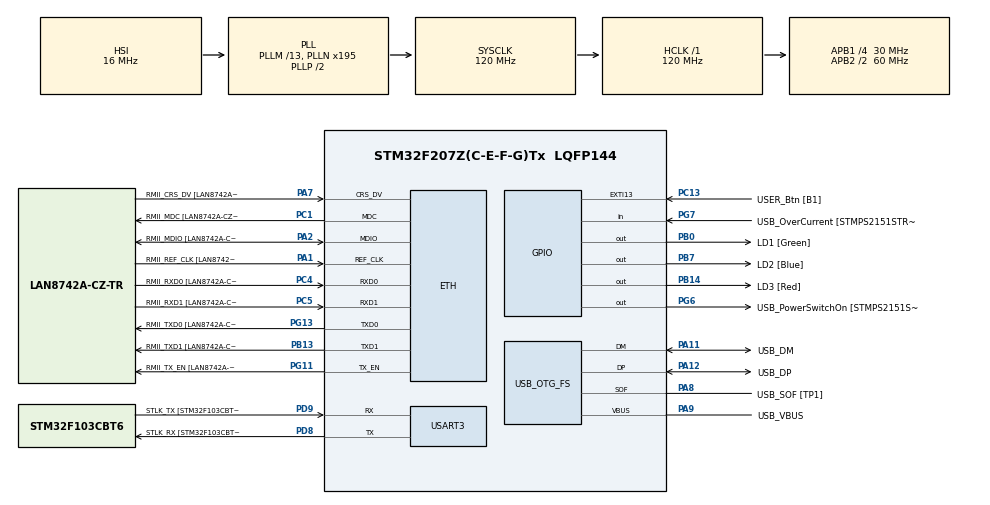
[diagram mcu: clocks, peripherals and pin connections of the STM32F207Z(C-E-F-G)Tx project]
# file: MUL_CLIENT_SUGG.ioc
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ETH.MediaInterface=ETH_MEDIA_INTERFACE_RMII
ETH.PHY_Name=LAN8742A_PHY_ADDRESS
ETH.PHY_Value=0
ETH.PhyAddress=0
FREERTOS.Tasks01=defaultTask,24,1024,StartDefaultTask,Default,NULL,Dynamic,NULL,NULL
FREERTOS.configUSE_NEWLIB_REENTRANT=1
LWIP.GATEWAY_ADDRESS=192.168.000.001
LWIP.IP_ADDRESS=192.168.000.100
LWIP.LWIP_DHCP=0
LWIP.NETMASK_ADDRESS=255.255.255.000
LWIP.Version=v2.0.3_Cube
Mcu.Family=STM32F2
Mcu.Name=STM32F207Z(C-E-F-G)Tx
Mcu.Package=LQFP144
NVIC.ETH_IRQn=true\:5\:0\:false\:false\:true\:true\:true\:true\:true
NVIC.ETH_WKUP_IRQn=true\:5\:0\:false\:false\:true\:true\:true\:true\:true
NVIC.PriorityGroup=NVIC_PRIORITYGROUP_4
NVIC.TIM2_IRQn=true\:15\:0\:false\:false\:true\:false\:false\:true\:true
NVIC.TimeBase=TIM2_IRQn
NVIC.TimeBaseIP=TIM2
PA1.GPIO_Label=RMII_REF_CLK [LAN8742A-CZ-TR_REFCLK0]
PA1.Mode=RMII
PA1.Signal=ETH_REF_CLK
PA10.GPIO_Label=USB_ID
PA10.Signal=USB_OTG_FS_ID
PA11.GPIO_Label=USB_DM
PA11.Mode=Device_Only
PA11.Signal=USB_OTG_FS_DM
PA12.GPIO_Label=USB_DP
PA12.Mode=Device_Only
PA12.Signal=USB_OTG_FS_DP
PA13.GPIO_Label=TMS
PA13.Mode=Serial_Wire
PA13.Signal=SYS_JTMS-SWDIO
PA14.GPIO_Label=TCK
PA14.Mode=Serial_Wire
PA14.Signal=SYS_JTCK-SWCLK
PA2.GPIO_Label=RMII_MDIO [LAN8742A-CZ-TR_MDIO]
PA2.Mode=RMII
PA2.Signal=ETH_MDIO
PA7.GPIO_Label=RMII_CRS_DV [LAN8742A-CZ-TR_CRS_DV]
PA7.Mode=RMII
PA7.Signal=ETH_CRS_DV
PA8.GPIO_Label=USB_SOF [TP1]
PA8.Mode=Activate_SOF_FS
PA8.Signal=USB_OTG_FS_SOF
PA9.GPIO_Label=USB_VBUS
PA9.Mode=Activate_VBUS
PA9.Signal=USB_OTG_FS_VBUS
PB0.GPIO_Label=LD1 [Green]
PB0.Signal=GPIO_Output
PB13.GPIO_Label=RMII_TXD1 [LAN8742A-CZ-TR_TXD1]
PB13.Mode=RMII
PB13.Signal=ETH_TXD1
PB14.GPIO_Label=LD3 [Red]
PB14.Signal=GPIO_Output
PB3.GPIO_Label=SWO
PB3.Signal=SYS_JTDO-SWO
PB7.GPIO_Label=LD2 [Blue]
PB7.Signal=GPIO_Output
PC1.GPIO_Label=RMII_MDC [LAN8742A-CZ-TR_MDC]
PC1.Mode=RMII
PC1.Signal=ETH_MDC
PC13.GPIO_Label=USER_Btn [B1]
PC13.Signal=GPXTI13
PC14-OSC32_IN.Mode=LSE-External-Oscillator
PC14-OSC32_IN.Signal=RCC_OSC32_IN
PC15-OSC32_OUT.Mode=LSE-External-Oscillator
PC15-OSC32_OUT.Signal=RCC_OSC32_OUT
PC4.GPIO_Label=RMII_RXD0 [LAN8742A-CZ-TR_RXD0]
PC4.Mode=RMII
PC4.Signal=ETH_RXD0
PC5.GPIO_Label=RMII_RXD1 [LAN8742A-CZ-TR_RXD1]
PC5.Mode=RMII
PC5.Signal=ETH_RXD1
PD8.GPIO_Label=STLK_RX [STM32F103CBT6_PA2]
PD8.Mode=Asynchronous
PD8.Signal=USART3_TX
PD9.GPIO_Label=STLK_TX [STM32F103CBT6_PA3]
PD9.Mode=Asynchronous
PD9.Signal=USART3_RX
PG11.GPIO_Label=RMII_TX_EN [LAN8742A-CZ-TR_TXEN]
PG11.Mode=RMII
PG11.Signal=ETH_TX_EN
PG13.GPIO_Label=RMII_TXD0 [LAN8742A-CZ-TR_TXD0]
PG13.Mode=RMII
PG13.Signal=ETH_TXD0
PG6.GPIO_Label=USB_PowerSwitchOn [STMPS2151STR_EN]
PG6.Signal=GPIO_Output
PG7.GPIO_Label=USB_OverCurrent [STMPS2151STR_FAULT]
PG7.Signal=GPIO_Input
PH0-OSC_IN.GPIO_Label=MCO [STM32F103CBT6_PA8]
PH0-OSC_IN.Mode=HSE-External-Oscillator
PH0-OSC_IN.Signal=RCC_OSC_IN
PH1-OSC_OUT.Mode=HSE-External-Oscillator
PH1-OSC_OUT.Signal=RCC_OSC_OUT
ProjectManager.HeapSize=0x200
ProjectManager.StackSize=0x400
ProjectManager.TargetToolchain=STM32CubeIDE
RCC.48MHZClocksFreq_Value=48000000
RCC.AHBFreq_Value=120000000
RCC.APB1CLKDivider=RCC_HCLK_DIV4
RCC.APB1Freq_Value=30000000
RCC.APB1TimFreq_Value=60000000
RCC.APB2CLKDivider=RCC_HCLK_DIV2
RCC.APB2Freq_Value=60000000
RCC.APB2TimFreq_Value=120000000
RCC.CortexFreq_Value=120000000
RCC.HCLKFreq_Value=120000000
RCC.HSE_VALUE=8000000
RCC.HSI_VALUE=16000000
RCC.PLLM=13
RCC.PLLMUL=RCC_PLL_MUL9
RCC.PLLN=195
RCC.PLLQ=5
RCC.PRESCALERUSB=RCC_USBCLKSOURCE_PLL_DIV1_5
RCC.SYSCLKFreq_VALUE=120000000
RCC.SYSCLKSource=RCC_SYSCLKSOURCE_PLLCLK
RCC.SYSCLKSourceVirtual=RCC_SYSCLKSOURCE_PLLCLK
RCC.USBFreq_Value=48000000
RCC.VCOOutputFreq_Value=240000000
USART3.VirtualMode=VM_ASYNC
USB_OTG_FS.VirtualMode=Device_Only
VP_FREERTOS_VS_CMSIS_V2.Mode=CMSIS_V2
VP_LWIP_VS_Enabled.Mode=Enabled
VP_SYS_VS_tim2.Mode=TIM2
board=NUCLEO-F207ZG

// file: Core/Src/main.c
/* USER CODE BEGIN Header */
/**
  ******************************************************************************
  * @file           : main.c
  * @brief          : Main program body
  ******************************************************************************
  * @attention
  *
  * Copyright (c) 2024 STMicroelectronics.
  * All rights reserved.
  *
  * This software is licensed under terms that can be found in the LICENSE file
  * in the root directory of this software component.
  * If no LICENSE file comes with this software, it is provided AS-IS.
  *
  ******************************************************************************
  */
/* USER CODE END Header */
#include "main.h"
#include "cmsis_os.h"
#include "lwip.h"
#include "lwip/api.h"
#include "lwip/netbuf.h"
#include <string.h>
/* USER CODE BEGIN Includes */
#define MQTT_PORT 1883 //MQTT_PORT

#define conn_req 16
#define ping_req 0xc0
#define sub_req 0x82
#define pub_msg 0x30
#define unsub_req 0xa2
#define disconn 0xe0

/* USER CODE END Includes */

UART_HandleTypeDef huart3;

PCD_HandleTypeDef hpcd_USB_OTG_FS;

/* Definitions for defaultTask */
osThreadId_t defaultTaskHandle;
const osThreadAttr_t defaultTask_attributes = {
  .name = "defaultTask",
  .stack_size = 1024 * 4,
  .priority = (osPriority_t) osPriorityNormal,
};

void SystemClock_Config(void);
static void MX_GPIO_Init(void);
static void MX_USART3_UART_Init(void);
static void MX_USB_OTG_FS_PCD_Init(void);
void StartDefaultTask(void *argument);

/* USER CODE BEGIN 0 */
typedef  struct {
        uint8_t arr[100];
    } arr_s;
static arr_s rxBuffer; //standard variable limit to its scope but static variable is throughout program

typedef struct{
		uint8_t pub[100];
	}pub_s;
static pub_s pub_packet;

typedef union{
	struct{
		uint8_t pack[100];
	}pack_s;
}pack_u;
static pack_u packet;

uint8_t connack_msg[] = {0x20, 0x01, 0x00};
uint8_t ping_res[] = {0xD0, 0x00};

void mqtt_client_task(void *arg)
{ struct netconn *new_conn = (struct netconn *)arg;

 	while (1)
 		{ struct netbuf *buf;
    	err_t rx_err = netconn_recv(new_conn, &buf); // Wait for data
        											 //new_conn = network connection from which receive data
        											//&buf = pointer where netbuf is store
    		if (rx_err == ERR_OK)
    		{ memcpy(&rxBuffer, buf->p->payload, buf->p->len); // data copy from buf->p->payload and copy into rxBuffer
	        												  // rxBuffer = A pointer to the memory location where the copied data will be stored.
        													  // buf->p->payload = A pointer to the memory location from where the data is to be copied.
	        												  // buf->p->len = The number of bytes to be copied
        	    	 if (conn_req == rxBuffer.arr[0])
        	    	 	 { netconn_write(new_conn, connack_msg, sizeof(connack_msg), NETCONN_COPY); //send connack_ack packet
        	    	 	 }

        	    	 if (ping_req == rxBuffer.arr[0])
        	    	 	 { netconn_write(new_conn, ping_res, sizeof(ping_res), NETCONN_COPY); //send publish packet
        	    	 	 }

        	    	 if (sub_req == rxBuffer.arr[0] && (memcpy(&packet,buf->p->payload,buf->p->len)))
        	    	 	 { uint8_t sub_ack[]={0x90,0x04,rxBuffer.arr[2],rxBuffer.arr[3],rxBuffer.arr[4],rxBuffer.arr[5]}; // send subscribe packet
        	    	 	 	 netconn_write(new_conn, sub_ack,sizeof(sub_ack), NETCONN_COPY);
        	    	 	 }

        	    	 if(pub_msg == rxBuffer.arr[0] && packet.pack_s.pack[7] == rxBuffer.arr[4])
        	    	 	 { for(int i=0;i<buf->p->len;i++)
        	    	 	 	 { memcpy(&pub_packet, buf->p->payload, buf->p->len);
        	    	 	 	 	 uint8_t publish[]={pub_packet.pub[i]};
        	    	 	 	 	   netconn_write(new_conn,publish,sizeof(publish),NETCONN_COPY); //send publish packet
        	    	 	 	 }
        	    	 	 }

        	    	 if(unsub_req == rxBuffer.arr[0])
        	    	 	 { uint8_t unsub_ack[]={0xb0,0x04,rxBuffer.arr[2],rxBuffer.arr[3],rxBuffer.arr[4],rxBuffer.arr[5]};
        	    	 	 	 netconn_write(new_conn,unsub_ack,sizeof(unsub_ack),NETCONN_COPY); //send unsub_ack packet
        	    	 	 }

        	    	 if (disconn == rxBuffer.arr[0])
        	    	 	 {	netconn_close(new_conn); //disconnect the connection
        	    	 	 	netconn_delete(new_conn);
        	    	 	 }
        		netbuf_delete(buf);//Deallocate a buffer
        	}
    	}
}
/* USER CODE END 0 */

int main(void)
{

  /* MCU Configuration--------------------------------------------------------*/

  /* Reset of all peripherals, Initializes the Flash interface and the Systick. */
  HAL_Init();

  /* Configure the system clock */
  SystemClock_Config();

  /* Initialize all configured peripherals */
  MX_GPIO_Init();
  MX_USART3_UART_Init();
  MX_USB_OTG_FS_PCD_Init();

  /* Init scheduler */
  osKernelInitialize();

  /* Create the thread(s) */
  /* creation of defaultTask */
  defaultTaskHandle = osThreadNew(StartDefaultTask, NULL, &defaultTask_attributes);

  /* Start scheduler */
  osKernelStart();

  /* We should never get here as control is now taken by the scheduler */
  /* Infinite loop */
  while (1)
  {

  }
}

void SystemClock_Config(void)
{
  RCC_OscInitTypeDef RCC_OscInitStruct = {0};
  RCC_ClkInitTypeDef RCC_ClkInitStruct = {0};

  /** Initializes the RCC Oscillators according to the specified parameters
  * in the RCC_OscInitTypeDef structure.
  */
  RCC_OscInitStruct.OscillatorType = RCC_OSCILLATORTYPE_HSI;
  RCC_OscInitStruct.HSIState = RCC_HSI_ON;
  RCC_OscInitStruct.HSICalibrationValue = RCC_HSICALIBRATION_DEFAULT;
  RCC_OscInitStruct.PLL.PLLState = RCC_PLL_ON;
  RCC_OscInitStruct.PLL.PLLSource = RCC_PLLSOURCE_HSI;
  RCC_OscInitStruct.PLL.PLLM = 13;
  RCC_OscInitStruct.PLL.PLLN = 195;
  RCC_OscInitStruct.PLL.PLLP = RCC_PLLP_DIV2;
  RCC_OscInitStruct.PLL.PLLQ = 5;
  if (HAL_RCC_OscConfig(&RCC_OscInitStruct) != HAL_OK)
  {
    Error_Handler();
  }

  /** Initializes the CPU, AHB and APB buses clocks
  */
  RCC_ClkInitStruct.ClockType = RCC_CLOCKTYPE_HCLK|RCC_CLOCKTYPE_SYSCLK
                              |RCC_CLOCKTYPE_PCLK1|RCC_CLOCKTYPE_PCLK2;
  RCC_ClkInitStruct.SYSCLKSource = RCC_SYSCLKSOURCE_PLLCLK;
  RCC_ClkInitStruct.AHBCLKDivider = RCC_SYSCLK_DIV1;
  RCC_ClkInitStruct.APB1CLKDivider = RCC_HCLK_DIV4;
  RCC_ClkInitStruct.APB2CLKDivider = RCC_HCLK_DIV2;

  if (HAL_RCC_ClockConfig(&RCC_ClkInitStruct, FLASH_LATENCY_3) != HAL_OK)
  {
    Error_Handler();
  }
}

static void MX_USART3_UART_Init(void)
{

  huart3.Instance = USART3;
  huart3.Init.BaudRate = 115200;
  huart3.Init.WordLength = UART_WORDLENGTH_8B;
  huart3.Init.StopBits = UART_STOPBITS_1;
  huart3.Init.Parity = UART_PARITY_NONE;
  huart3.Init.Mode = UART_MODE_TX_RX;
  huart3.Init.HwFlowCtl = UART_HWCONTROL_NONE;
  huart3.Init.OverSampling = UART_OVERSAMPLING_16;
  if (HAL_UART_Init(&huart3) != HAL_OK)
  {
    Error_Handler();
  }

}

static void MX_USB_OTG_FS_PCD_Init(void)
{

  hpcd_USB_OTG_FS.Instance = USB_OTG_FS;
  hpcd_USB_OTG_FS.Init.dev_endpoints = 4;
  hpcd_USB_OTG_FS.Init.speed = PCD_SPEED_FULL;
  hpcd_USB_OTG_FS.Init.dma_enable = DISABLE;
  hpcd_USB_OTG_FS.Init.phy_itface = PCD_PHY_EMBEDDED;
  hpcd_USB_OTG_FS.Init.Sof_enable = ENABLE;
  hpcd_USB_OTG_FS.Init.low_power_enable = DISABLE;
  hpcd_USB_OTG_FS.Init.vbus_sensing_enable = ENABLE;
  hpcd_USB_OTG_FS.Init.use_dedicated_ep1 = DISABLE;
  if (HAL_PCD_Init(&hpcd_USB_OTG_FS) != HAL_OK)
  {
    Error_Handler();
  }

}

static void MX_GPIO_Init(void)
{
  GPIO_InitTypeDef GPIO_InitStruct = {0};

  /* GPIO Ports Clock Enable */
  __HAL_RCC_GPIOC_CLK_ENABLE();
  __HAL_RCC_GPIOH_CLK_ENABLE();
  __HAL_RCC_GPIOA_CLK_ENABLE();
  __HAL_RCC_GPIOB_CLK_ENABLE();
  __HAL_RCC_GPIOD_CLK_ENABLE();
  __HAL_RCC_GPIOG_CLK_ENABLE();

  /*Configure GPIO pin Output Level */
  HAL_GPIO_WritePin(GPIOB, LD1_Pin|LD3_Pin|LD2_Pin, GPIO_PIN_RESET);

  /*Configure GPIO pin Output Level */
  HAL_GPIO_WritePin(USB_PowerSwitchOn_GPIO_Port, USB_PowerSwitchOn_Pin, GPIO_PIN_RESET);

  /*Configure GPIO pin : USER_Btn_Pin */
  GPIO_InitStruct.Pin = USER_Btn_Pin;
  GPIO_InitStruct.Mode = GPIO_MODE_IT_RISING;
  GPIO_InitStruct.Pull = GPIO_NOPULL;
  HAL_GPIO_Init(USER_Btn_GPIO_Port, &GPIO_InitStruct);

  /*Configure GPIO pins : LD1_Pin LD3_Pin LD2_Pin */
  GPIO_InitStruct.Pin = LD1_Pin|LD3_Pin|LD2_Pin;
  GPIO_InitStruct.Mode = GPIO_MODE_OUTPUT_PP;
  GPIO_InitStruct.Pull = GPIO_NOPULL;
  GPIO_InitStruct.Speed = GPIO_SPEED_FREQ_LOW;
  HAL_GPIO_Init(GPIOB, &GPIO_InitStruct);

  /*Configure GPIO pin : USB_PowerSwitchOn_Pin */
  GPIO_InitStruct.Pin = USB_PowerSwitchOn_Pin;
  GPIO_InitStruct.Mode = GPIO_MODE_OUTPUT_PP;
  GPIO_InitStruct.Pull = GPIO_NOPULL;
  GPIO_InitStruct.Speed = GPIO_SPEED_FREQ_LOW;
  HAL_GPIO_Init(USB_PowerSwitchOn_GPIO_Port, &GPIO_InitStruct);

  /*Configure GPIO pin : USB_OverCurrent_Pin */
  GPIO_InitStruct.Pin = USB_OverCurrent_Pin;
  GPIO_InitStruct.Mode = GPIO_MODE_INPUT;
  GPIO_InitStruct.Pull = GPIO_NOPULL;
  HAL_GPIO_Init(USB_OverCurrent_GPIO_Port, &GPIO_InitStruct);

}

void StartDefaultTask(void *argument)
{
  /* init code for LWIP */
  MX_LWIP_Init();
  	  struct netconn *mqtt_conn, *new_conn;
       err_t bind_err, listen_err, accept_err;

        mqtt_conn = netconn_new(NETCONN_TCP); // Create a new connection structure
        bind_err = netconn_bind(mqtt_conn, IP_ADDR_ANY, MQTT_PORT); //Set local IP address/port of a netconn

        if (bind_err != ERR_OK)
        		{
        		 	 printf("Error binding MQTT server: %d\n", bind_err);
        		 	   netconn_delete(mqtt_conn);
        		 	   return;
        		}

        	listen_err = netconn_listen(mqtt_conn); //Make a listening TCP netconn
        		if (listen_err != ERR_OK)
        			{
        		 		printf("Error listening for MQTT connections: %d\n", listen_err);
        		 		  netconn_delete(mqtt_conn);
        		 		  return;
        			}

        		while (1)
        	 	 { accept_err = netconn_accept(mqtt_conn, &new_conn); //Wait for incoming connections
        	 	 	 	 	 	 	 	 	 	 	 	 	 	 	 //mqtt_conn is listen the connection and new_conn is when accepted connection stored
        	 	 	 if (accept_err == ERR_OK) //ERR_OK means error is 0 so that execute if parts
        	 	 	 	 {
        	 	 		 	 sys_thread_new("mqtt_client_task", mqtt_client_task, new_conn,1024, 1); //make new thread and give 1024 stack size and give priority 1
        	 	 	 	 }
        	 	 }

  for(;;)
  {
    osDelay(1);
  }
}

void HAL_TIM_PeriodElapsedCallback(TIM_HandleTypeDef *htim)
{
  if (htim->Instance == TIM2) {
    HAL_IncTick();
  }
}

void Error_Handler(void)
{
  __disable_irq();
  while (1)
  {
  }
}
